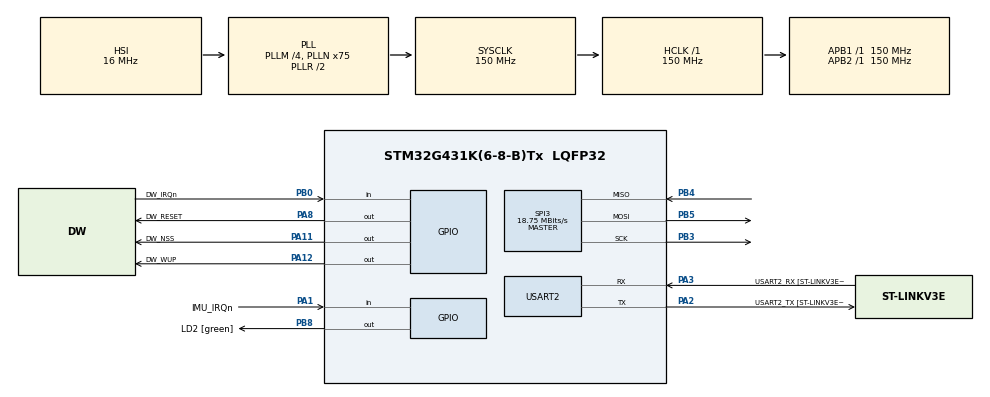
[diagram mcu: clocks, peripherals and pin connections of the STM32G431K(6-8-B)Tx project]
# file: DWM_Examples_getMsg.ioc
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Dma.Request0=USART2_TX
Dma.USART2_TX.0.Direction=DMA_MEMORY_TO_PERIPH
Dma.USART2_TX.0.EventEnable=DISABLE
Dma.USART2_TX.0.Instance=DMA1_Channel1
Dma.USART2_TX.0.MemDataAlignment=DMA_MDATAALIGN_BYTE
Dma.USART2_TX.0.MemInc=DMA_MINC_ENABLE
Dma.USART2_TX.0.Mode=DMA_NORMAL
Dma.USART2_TX.0.PeriphDataAlignment=DMA_PDATAALIGN_BYTE
Dma.USART2_TX.0.PeriphInc=DMA_PINC_DISABLE
Dma.USART2_TX.0.Polarity=HAL_DMAMUX_REQ_GEN_RISING
Dma.USART2_TX.0.Priority=DMA_PRIORITY_LOW
Dma.USART2_TX.0.RequestNumber=1
Dma.USART2_TX.0.SignalID=NONE
Dma.USART2_TX.0.SyncEnable=DISABLE
Dma.USART2_TX.0.SyncPolarity=HAL_DMAMUX_SYNC_NO_EVENT
Dma.USART2_TX.0.SyncRequestNumber=1
Dma.USART2_TX.0.SyncSignalID=NONE
Mcu.Family=STM32G4
Mcu.Name=STM32G431K(6-8-B)Tx
Mcu.Package=LQFP32
NVIC.DMA1_Channel1_IRQn=true\:0\:0\:false\:true\:true\:1\:false\:true\:true
NVIC.PriorityGroup=NVIC_PRIORITYGROUP_4
NVIC.USART2_IRQn=true\:0\:0\:false\:false\:true\:true\:true\:true
PA1.GPIO_Label=IMU_IRQn
PA1.GPIO_PuPd=GPIO_PULLUP
PA1.Signal=GPIO_Input
PA11.GPIO_Label=DW_NSS
PA11.Signal=GPIO_Output
PA12.GPIO_Label=DW_WUP
PA12.Signal=GPIO_Output
PA13.GPIO_Label=T_SWDIO
PA13.Mode=Serial_Wire
PA13.Signal=SYS_JTMS-SWDIO
PA14.GPIO_Label=T_SWCLK
PA14.Mode=Serial_Wire
PA14.Signal=SYS_JTCK-SWCLK
PA2.GPIO_Label=USART2_TX [ST-LINKV3E_VCP_RX]
PA2.Mode=Asynchronous
PA2.Signal=USART2_TX
PA3.GPIO_Label=USART2_RX [ST-LINKV3E_VCP_TX]
PA3.Mode=Asynchronous
PA3.Signal=USART2_RX
PA8.GPIO_Label=DW_RESET
PA8.GPIO_ModeDefaultOutputPP=GPIO_MODE_OUTPUT_PP
PA8.GPIO_PuPd=GPIO_PULLUP
PA8.GPIO_Speed=GPIO_SPEED_FREQ_HIGH
PA8.PinState=GPIO_PIN_SET
PA8.Signal=GPIO_Output
PB0.GPIO_Label=DW_IRQn
PB0.GPIO_PuPd=GPIO_PULLUP
PB0.Signal=GPIO_Input
PB3.Mode=Full_Duplex_Master
PB3.Signal=SPI3_SCK
PB4.Mode=Full_Duplex_Master
PB4.Signal=SPI3_MISO
PB5.Mode=Full_Duplex_Master
PB5.Signal=SPI3_MOSI
PB8-BOOT0.GPIO_Label=LD2 [green]
PB8-BOOT0.Signal=GPIO_Output
ProjectManager.HeapSize=0x200
ProjectManager.StackSize=0x400
ProjectManager.TargetToolchain=STM32CubeIDE
RCC.ADC12Freq_Value=150000000
RCC.AHBFreq_Value=150000000
RCC.APB1Freq_Value=150000000
RCC.APB1TimFreq_Value=150000000
RCC.APB2Freq_Value=150000000
RCC.APB2TimFreq_Value=150000000
RCC.CortexFreq_Value=150000000
RCC.EXTERNAL_CLOCK_VALUE=12288000
RCC.HCLKFreq_Value=150000000
RCC.HSE_VALUE=8000000
RCC.HSI48_VALUE=48000000
RCC.HSI_VALUE=16000000
RCC.LSE_VALUE=32768
RCC.PLLM=RCC_PLLM_DIV4
RCC.PLLN=75
RCC.SYSCLKFreq_VALUE=150000000
RCC.SYSCLKSource=RCC_SYSCLKSOURCE_PLLCLK
RCC.USART2CLockSelection=RCC_USART2CLKSOURCE_HSI
RCC.USBFreq_Value=150000000
RCC.VCOOutputFreq_Value=300000000
SPI3.BaudRatePrescaler=SPI_BAUDRATEPRESCALER_8
SPI3.CalculateBaudRate=18.75 MBits/s
SPI3.DataSize=SPI_DATASIZE_8BIT
SPI3.Direction=SPI_DIRECTION_2LINES
SPI3.Mode=SPI_MODE_MASTER
SPI3.VirtualType=VM_MASTER
TIM2.Prescaler=149
USART2.VirtualMode-Asynchronous=VM_ASYNC
USART2.WordLength=WORDLENGTH_8B
VP_TIM2_VS_ClockSourceINT.Mode=Internal
board=NUCLEO-G431KB

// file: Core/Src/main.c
/* USER CODE BEGIN Header */
/**
  ******************************************************************************
  * @file           : main.c
  * @brief          : Main program body
  ******************************************************************************
  * @attention
  *
  * Copyright (c) 2022 STMicroelectronics.
  * All rights reserved.
  *
  * This software is licensed under terms that can be found in the LICENSE file
  * in the root directory of this software component.
  * If no LICENSE file comes with this software, it is provided AS-IS.
  *
  ******************************************************************************
  */
/* USER CODE END Header */
#include "main.h"
#include "dma.h"
#include "spi.h"
#include "tim.h"
#include "usart.h"
#include "gpio.h"

/* USER CODE BEGIN Includes */
#include "examples_defines.h"
#include "port.h"
#include "string.h"
/* USER CODE END Includes */

/* USER CODE BEGIN PD */
void test_run_info(unsigned char *data);
void test_run_info_DMA(unsigned char *data);
/* USER CODE END PD */

/* USER CODE BEGIN PV */
extern example_ptr example_pointer;
/* USER CODE END PV */

void SystemClock_Config(void);
static void MX_NVIC_Init(void);

int main(void)
{
  /* USER CODE BEGIN 1 */
  build_examples();
  /* USER CODE END 1 */

  /* MCU Configuration--------------------------------------------------------*/

  /* Reset of all peripherals, Initializes the Flash interface and the Systick. */
  HAL_Init();

  /* Configure the system clock */
  SystemClock_Config();

  /* Initialize all configured peripherals */
  MX_GPIO_Init();
  MX_DMA_Init();
  MX_USART2_UART_Init();
  MX_SPI3_Init();
  MX_TIM2_Init();

  /* Initialize interrupts */
  MX_NVIC_Init();
  /* USER CODE BEGIN 2 */
  port_DisableEXT_IRQ();
  example_pointer();
  /* USER CODE END 2 */

  /* Infinite loop */
  /* USER CODE BEGIN WHILE */
  while (1)
  {
//	  test_run_info("Elo");
//	  HAL_Delay(200);
    /* USER CODE END WHILE */

  }
}

void SystemClock_Config(void)
{
  RCC_OscInitTypeDef RCC_OscInitStruct = {0};
  RCC_ClkInitTypeDef RCC_ClkInitStruct = {0};

  /** Configure the main internal regulator output voltage
  */
  HAL_PWREx_ControlVoltageScaling(PWR_REGULATOR_VOLTAGE_SCALE1);

  /** Initializes the RCC Oscillators according to the specified parameters
  * in the RCC_OscInitTypeDef structure.
  */
  RCC_OscInitStruct.OscillatorType = RCC_OSCILLATORTYPE_HSI;
  RCC_OscInitStruct.HSIState = RCC_HSI_ON;
  RCC_OscInitStruct.HSICalibrationValue = RCC_HSICALIBRATION_DEFAULT;
  RCC_OscInitStruct.PLL.PLLState = RCC_PLL_ON;
  RCC_OscInitStruct.PLL.PLLSource = RCC_PLLSOURCE_HSI;
  RCC_OscInitStruct.PLL.PLLM = RCC_PLLM_DIV4;
  RCC_OscInitStruct.PLL.PLLN = 75;
  RCC_OscInitStruct.PLL.PLLP = RCC_PLLP_DIV2;
  RCC_OscInitStruct.PLL.PLLQ = RCC_PLLQ_DIV2;
  RCC_OscInitStruct.PLL.PLLR = RCC_PLLR_DIV2;
  if (HAL_RCC_OscConfig(&RCC_OscInitStruct) != HAL_OK)
  {
    Error_Handler();
  }

  /** Initializes the CPU, AHB and APB buses clocks
  */
  RCC_ClkInitStruct.ClockType = RCC_CLOCKTYPE_HCLK|RCC_CLOCKTYPE_SYSCLK
                              |RCC_CLOCKTYPE_PCLK1|RCC_CLOCKTYPE_PCLK2;
  RCC_ClkInitStruct.SYSCLKSource = RCC_SYSCLKSOURCE_PLLCLK;
  RCC_ClkInitStruct.AHBCLKDivider = RCC_SYSCLK_DIV1;
  RCC_ClkInitStruct.APB1CLKDivider = RCC_HCLK_DIV1;
  RCC_ClkInitStruct.APB2CLKDivider = RCC_HCLK_DIV1;

  if (HAL_RCC_ClockConfig(&RCC_ClkInitStruct, FLASH_LATENCY_4) != HAL_OK)
  {
    Error_Handler();
  }
}

/**
  * @brief NVIC Configuration.
  * @retval None
  */
static void MX_NVIC_Init(void)
{
  /* DMA1_Channel1_IRQn interrupt configuration */
  HAL_NVIC_SetPriority(DMA1_Channel1_IRQn, 0, 0);
  HAL_NVIC_EnableIRQ(DMA1_Channel1_IRQn);
}

/* USER CODE BEGIN 4 */
void test_run_info(unsigned char *data)
{
    uint16_t    data_length;

    data_length=strlen((const char *)data);
    HAL_UART_Transmit(&huart2, data, data_length, 10);/*Transmit the data through USB - Virtual port*/
    HAL_UART_Transmit(&huart2, (uint8_t*)"\n\r", 2, 10);/*Transmit end of line through USB - Virtual port*/

}
void test_run_info_DMA(unsigned char *data)
{
    uint16_t    data_length;

    data_length=strlen((const char *)data);
    HAL_UART_Transmit_DMA(&huart2, data, data_length);/*Transmit the data through USB - Virtual port*/
}

//void HAL_UART_TxCpltCallback(UART_HandleTypeDef *huart)
//{
//	if (huart == &huart2)
//	{
//
//	}
//}
/* USER CODE END 4 */

void Error_Handler(void)
{
  __disable_irq();
  while (1)
  {
  }
}
